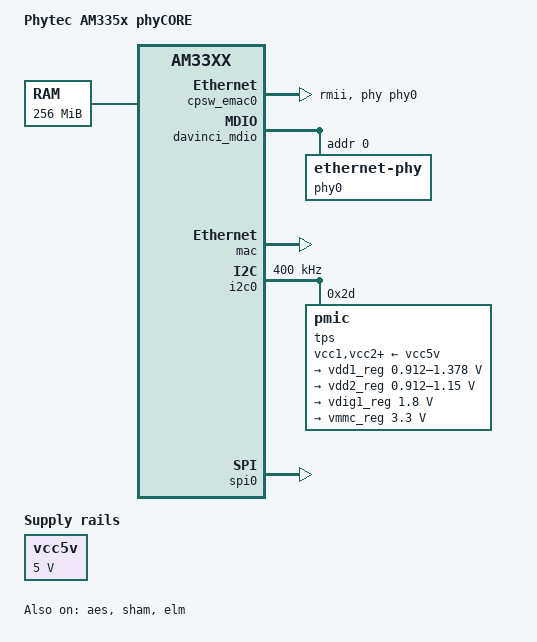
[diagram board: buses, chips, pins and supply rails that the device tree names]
/*
 * Copyright (C) 2015 Phytec Messtechnik GmbH
 * Author: Teresa Remmet <t.remmet@phytec.de>
 *
 * This program is free software; you can redistribute it and/or modify
 * it under the terms of the GNU General Public License version 2 as
 * published by the Free Software Foundation.
 */

#include "am33xx.dtsi"
#include <dt-bindings/interrupt-controller/irq.h>

/ {
	model = "Phytec AM335x phyCORE";
	compatible = "phytec,am335x-phycore-som", "ti,am33xx";

	aliases {
		rtc0 = &i2c_rtc;
		rtc1 = &rtc;
	};

	cpus {
		cpu@0 {
			cpu0-supply = <&vdd1_reg>;
		};
	};

	memory@80000000 {
		device_type = "memory";
		reg = <0x80000000 0x10000000>; /* 256 MB */
	};

	vcc5v: fixedregulator0 {
		compatible = "regulator-fixed";
		regulator-name = "vcc5v";
		regulator-min-microvolt = <5000000>;
		regulator-max-microvolt = <5000000>;
		regulator-boot-on;
		regulator-always-on;
	};
};

/* Crypto Module */
&aes {
	status = "okay";
};

&sham {
	status = "okay";
};

/* EMMC */
&am33xx_pinmux {
	emmc_pins: pinmux_emmc_pins {
		pinctrl-single,pins = <
			AM33XX_PADCONF(AM335X_PIN_GPMC_CSN1, PIN_INPUT_PULLUP, MUX_MODE2)	/* gpmc_csn1.mmc1_clk */
			AM33XX_PADCONF(AM335X_PIN_GPMC_CSN2, PIN_INPUT_PULLUP, MUX_MODE2)	/* gpmc_csn2.mmc1_cmd */
			AM33XX_PADCONF(AM335X_PIN_GPMC_AD0, PIN_INPUT_PULLUP, MUX_MODE1)	/* gpmc_ad0.mmc1_dat0 */
			AM33XX_PADCONF(AM335X_PIN_GPMC_AD1, PIN_INPUT_PULLUP, MUX_MODE1)	/* gpmc_ad1.mmc1_dat1 */
			AM33XX_PADCONF(AM335X_PIN_GPMC_AD2, PIN_INPUT_PULLUP, MUX_MODE1)	/* gpmc_ad2.mmc1_dat2 */
			AM33XX_PADCONF(AM335X_PIN_GPMC_AD3, PIN_INPUT_PULLUP, MUX_MODE1)	/* gpmc_ad3.mmc1_dat3 */
			AM33XX_PADCONF(AM335X_PIN_GPMC_AD4, PIN_INPUT_PULLUP, MUX_MODE1)	/* gpmc_ad4.mmc1_dat4 */
			AM33XX_PADCONF(AM335X_PIN_GPMC_AD5, PIN_INPUT_PULLUP, MUX_MODE1)	/* gpmc_ad5.mmc1_dat5 */
			AM33XX_PADCONF(AM335X_PIN_GPMC_AD6, PIN_INPUT_PULLUP, MUX_MODE1)	/* gpmc_ad6.mmc1_dat6 */
			AM33XX_PADCONF(AM335X_PIN_GPMC_AD7, PIN_INPUT_PULLUP, MUX_MODE1)	/* gpmc_ad7.mmc1_dat7 */
		>;
	};
};

&mmc2 {
	pinctrl-names = "default";
	pinctrl-0 = <&emmc_pins>;
	vmmc-supply = <&vmmc_reg>;
	bus-width = <8>;
	ti,non-removable;
	status = "disabled";
};

/* Ethernet */
&am33xx_pinmux {
	ethernet0_pins: pinmux_ethernet0 {
		pinctrl-single,pins = <
			AM33XX_PADCONF(AM335X_PIN_MII1_CRS, PIN_INPUT_PULLDOWN, MUX_MODE1)
			AM33XX_PADCONF(AM335X_PIN_MII1_RX_ER, PIN_INPUT_PULLDOWN, MUX_MODE1)
			AM33XX_PADCONF(AM335X_PIN_MII1_TX_EN, PIN_OUTPUT, MUX_MODE1)
			AM33XX_PADCONF(AM335X_PIN_MII1_TXD1, PIN_OUTPUT, MUX_MODE1)
			AM33XX_PADCONF(AM335X_PIN_MII1_TXD0, PIN_OUTPUT, MUX_MODE1)
			AM33XX_PADCONF(AM335X_PIN_MII1_RXD1, PIN_INPUT_PULLDOWN, MUX_MODE1)
			AM33XX_PADCONF(AM335X_PIN_MII1_RXD0, PIN_INPUT_PULLDOWN, MUX_MODE1)
			AM33XX_PADCONF(AM335X_PIN_RMII1_REF_CLK, PIN_INPUT_PULLDOWN, MUX_MODE0)
		>;
	};

	mdio_pins: pinmux_mdio {
		pinctrl-single,pins = <
			/* MDIO */
			AM33XX_PADCONF(AM335X_PIN_MDIO, PIN_INPUT_PULLUP | SLEWCTRL_FAST, MUX_MODE0)
			AM33XX_PADCONF(AM335X_PIN_MDC, PIN_OUTPUT_PULLUP, MUX_MODE0)
		>;
	};
};

&cpsw_emac0 {
	phy-handle = <&phy0>;
	phy-mode = "rmii";
	dual_emac_res_vlan = <1>;
};

&davinci_mdio {
	pinctrl-names = "default";
	pinctrl-0 = <&mdio_pins>;
	status = "okay";

	phy0: ethernet-phy@0 {
		reg = <0>;
	};
};

&mac {
	slaves = <1>;
	pinctrl-names = "default";
	pinctrl-0 = <&ethernet0_pins>;
	status = "okay";
};

/* I2C Busses */
&am33xx_pinmux {
	i2c0_pins: pinmux_i2c0 {
		pinctrl-single,pins = <
			AM33XX_PADCONF(AM335X_PIN_I2C0_SDA, PIN_INPUT, MUX_MODE0)
			AM33XX_PADCONF(AM335X_PIN_I2C0_SCL, PIN_INPUT, MUX_MODE0)
		>;
	};
};

&i2c0 {
	pinctrl-names = "default";
	pinctrl-0 = <&i2c0_pins>;
	clock-frequency = <400000>;
	status = "okay";

	tps: pmic@2d {
		reg = <0x2d>;
	};

	i2c_tmp102: temp@4b {
		compatible = "ti,tmp102";
		reg = <0x4b>;
		status = "disabled";
	};

	i2c_eeprom: eeprom@52 {
		compatible = "atmel,24c32";
		pagesize = <32>;
		reg = <0x52>;
		status = "disabled";
	};

	i2c_rtc: rtc@68 {
		compatible = "microcrystal,rv4162";
		reg = <0x68>;
		status = "disabled";
	};
};

/* NAND memory */
&am33xx_pinmux {
		nandflash_pins: pinmux_nandflash {
			pinctrl-single,pins = <
			AM33XX_PADCONF(AM335X_PIN_GPMC_AD0, PIN_INPUT_PULLUP, MUX_MODE0)
			AM33XX_PADCONF(AM335X_PIN_GPMC_AD1, PIN_INPUT_PULLUP, MUX_MODE0)
			AM33XX_PADCONF(AM335X_PIN_GPMC_AD2, PIN_INPUT_PULLUP, MUX_MODE0)
			AM33XX_PADCONF(AM335X_PIN_GPMC_AD3, PIN_INPUT_PULLUP, MUX_MODE0)
			AM33XX_PADCONF(AM335X_PIN_GPMC_AD4, PIN_INPUT_PULLUP, MUX_MODE0)
			AM33XX_PADCONF(AM335X_PIN_GPMC_AD5, PIN_INPUT_PULLUP, MUX_MODE0)
			AM33XX_PADCONF(AM335X_PIN_GPMC_AD6, PIN_INPUT_PULLUP, MUX_MODE0)
			AM33XX_PADCONF(AM335X_PIN_GPMC_AD7, PIN_INPUT_PULLUP, MUX_MODE0)
			AM33XX_PADCONF(AM335X_PIN_GPMC_WAIT0, PIN_INPUT_PULLUP, MUX_MODE0)
			AM33XX_PADCONF(AM335X_PIN_GPMC_CSN0, PIN_OUTPUT, MUX_MODE0)
			AM33XX_PADCONF(AM335X_PIN_GPMC_ADVN_ALE, PIN_OUTPUT, MUX_MODE0)
			AM33XX_PADCONF(AM335X_PIN_GPMC_OEN_REN, PIN_OUTPUT, MUX_MODE0)
			AM33XX_PADCONF(AM335X_PIN_GPMC_WEN, PIN_OUTPUT, MUX_MODE0)
			AM33XX_PADCONF(AM335X_PIN_GPMC_BEN0_CLE, PIN_OUTPUT, MUX_MODE0)
		>;
	};
};

&elm {
	status = "okay";
};

&gpmc {
	status = "disabled";
	pinctrl-names = "default";
	pinctrl-0 = <&nandflash_pins>;
	ranges = <0 0 0x08000000 0x1000000>;   /* CS0: NAND */
	nandflash: nand@0,0 {
		compatible = "ti,omap2-nand";
		reg = <0 0 4>; /* CS0, offset 0, IO size 4 */
		interrupt-parent = <&gpmc>;
		interrupts = <0 IRQ_TYPE_NONE>, /* fifoevent */
			     <1 IRQ_TYPE_NONE>;	/* termcount */
		rb-gpios = <&gpmc 0 GPIO_ACTIVE_HIGH>; /* gpmc_wait0 */
		nand-bus-width = <8>;
		ti,nand-ecc-opt = "bch8";
		gpmc,device-nand = "true";
		gpmc,device-width = <1>;
		gpmc,sync-clk-ps = <0>;
		gpmc,cs-on-ns = <0>;
		gpmc,cs-rd-off-ns = <30>;
		gpmc,cs-wr-off-ns = <30>;
		gpmc,adv-on-ns = <0>;
		gpmc,adv-rd-off-ns = <30>;
		gpmc,adv-wr-off-ns = <30>;
		gpmc,we-on-ns = <0>;
		gpmc,we-off-ns = <20>;
		gpmc,oe-on-ns = <10>;
		gpmc,oe-off-ns = <30>;
		gpmc,access-ns = <30>;
		gpmc,rd-cycle-ns = <30>;
		gpmc,wr-cycle-ns = <30>;
		gpmc,bus-turnaround-ns = <0>;
		gpmc,cycle2cycle-delay-ns = <50>;
		gpmc,cycle2cycle-diffcsen;
		gpmc,clk-activation-ns = <0>;
		gpmc,wr-access-ns = <30>;
		gpmc,wr-data-mux-bus-ns = <0>;

		ti,elm-id = <&elm>;

		#address-cells = <1>;
		#size-cells = <1>;
	};
};

/* Power */
#include "tps65910.dtsi"

&tps {
	vcc1-supply = <&vcc5v>;
	vcc2-supply = <&vcc5v>;
	vcc3-supply = <&vcc5v>;
	vcc4-supply = <&vcc5v>;
	vcc5-supply = <&vcc5v>;
	vcc6-supply = <&vcc5v>;
	vcc7-supply = <&vcc5v>;
	vccio-supply = <&vcc5v>;

	regulators {
		vrtc_reg: regulator@0 {
			regulator-always-on;
		};

		vio_reg: regulator@1 {
			regulator-always-on;
		};

		vdd1_reg: regulator@2 {
			/* VDD_MPU voltage limits 0.95V - 1.325V with +/-4% tolerance */
			regulator-name = "vdd_mpu";
			regulator-min-microvolt = <912500>;
			regulator-max-microvolt = <1378000>;
			regulator-boot-on;
			regulator-always-on;
		};

		vdd2_reg: regulator@3 {
			/* VDD_CORE voltage limits 0.95V - 1.1V with +/-4% tolerance */
			regulator-name = "vdd_core";
			regulator-min-microvolt = <912500>;
			regulator-max-microvolt = <1150000>;
			regulator-boot-on;
			regulator-always-on;
		};

		vdd3_reg: regulator@4 {
			regulator-always-on;
		};

		vdig1_reg: regulator@5 {
			regulator-name = "vdig1_1p8v";
			regulator-min-microvolt = <1800000>;
			regulator-max-microvolt = <1800000>;
		};

		vdig2_reg: regulator@6 {
			regulator-always-on;
		};

		vpll_reg: regulator@7 {
			regulator-always-on;
		};

		vdac_reg: regulator@8 {
			regulator-always-on;
		};

		vaux1_reg: regulator@9 {
			regulator-always-on;
		};

		vaux2_reg: regulator@10 {
			regulator-always-on;
		};

		vaux33_reg: regulator@11 {
			regulator-always-on;
		};

		vmmc_reg: regulator@12 {
			regulator-min-microvolt = <3300000>;
			regulator-max-microvolt = <3300000>;
			regulator-always-on;
		};
	};
};

/* SPI Busses */
&am33xx_pinmux {
	spi0_pins: pinmux_spi0 {
		pinctrl-single,pins = <
			AM33XX_PADCONF(AM335X_PIN_SPI0_SCLK, PIN_INPUT_PULLDOWN, MUX_MODE0)
			AM33XX_PADCONF(AM335X_PIN_SPI0_D0, PIN_INPUT_PULLDOWN, MUX_MODE0)
			AM33XX_PADCONF(AM335X_PIN_SPI0_D1, PIN_INPUT_PULLUP, MUX_MODE0)
			AM33XX_PADCONF(AM335X_PIN_SPI0_CS0, PIN_INPUT_PULLUP, MUX_MODE0)
		>;
	};
};

&spi0 {
	pinctrl-names = "default";
	pinctrl-0 = <&spi0_pins>;
	status = "okay";

	serial_flash: m25p80@0 {
		compatible = "jedec,spi-nor";
		spi-max-frequency = <48000000>;
		reg = <0x0>;
		m25p,fast-read;
		status = "disabled";
		#address-cells = <1>;
		#size-cells = <1>;
	};
};
